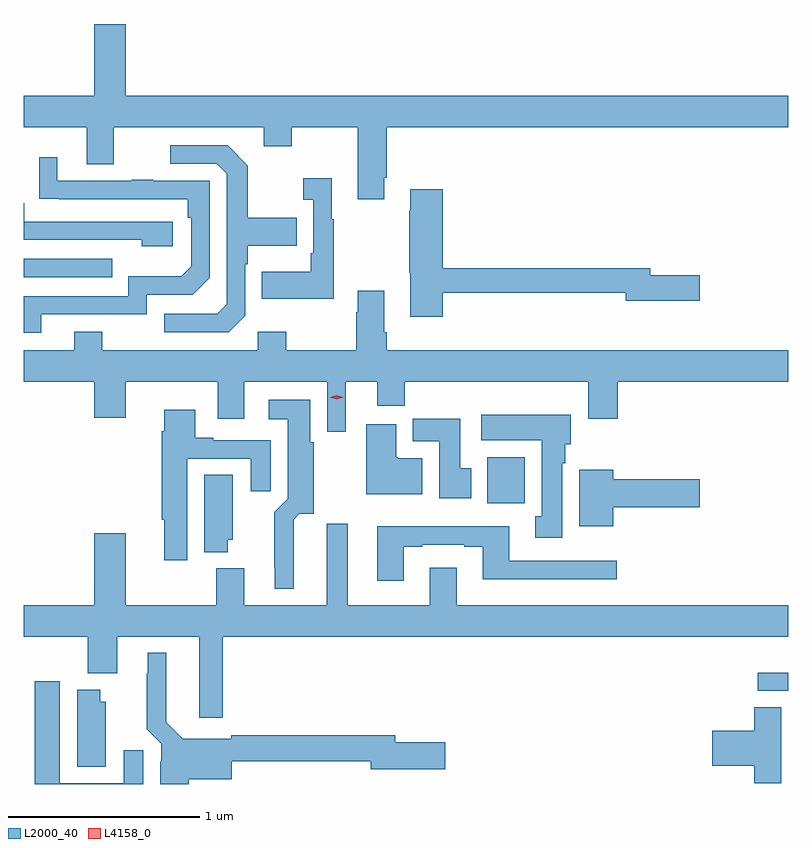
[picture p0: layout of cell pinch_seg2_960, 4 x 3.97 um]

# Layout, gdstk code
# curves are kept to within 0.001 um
import gdstk
lib = gdstk.Library(unit=1e-6, precision=1e-09)
def R(c, l, rs):  # rectangles x0, y0, x1, y1
    for r in rs: c.add(gdstk.rectangle(r[:2], r[2:], *l))
def P(c, l, *ps):  # polygons
    for p in ps: c.add(gdstk.Polygon(p, *l))
L2000_40 = (2000, 40)
L4158_0 = (4158, 0)

pinch_seg2_960 = lib.new_cell('pinch_seg2_960')
R(pinch_seg2_960, L2000_40, [(120.525,628.704,120.686,628.8), (119.111,629.684,119.308,629.926), (116.686,630.867,117.149,630.963)])
P(pinch_seg2_960, L2000_40, [(118.573,631.387),(118.586,631.387),(118.586,631.652),(120.686,631.652),(120.686,631.816),(117.22,631.816),(117.22,632.191),(117.056,632.191),(117.056,631.816),(116.686,631.816),(116.686,631.652),(117.017,631.652),(117.017,631.458),(117.157,631.458),(117.157,631.652),(117.941,631.652),(117.941,631.553),(118.089,631.553),(118.089,631.652),(118.433,631.652),(118.433,631.275),(118.573,631.275)],
  [(117.846,630.666),(117.846,630.935),(117.859,630.935),(117.859,631.031),(118.115,631.031),(118.115,631.179),(117.859,631.179),(117.859,631.451),(117.753,631.557),(117.453,631.557),(117.453,631.461),(117.696,631.461),(117.75,631.407),(117.75,630.726),(117.699,630.675),(117.423,630.675),(117.423,630.579),(117.759,630.579)],
  [(116.779,630.672),(117.33,630.672),(117.33,630.774),(117.57,630.774),(117.66,630.864),(117.66,631.371),(117.365,631.371),(117.365,631.376),(117.253,631.376),(117.253,631.371),(116.863,631.371),(116.863,631.495),(116.767,631.495),(116.767,631.276),(117.544,631.275),(117.544,631.178),(117.564,631.178),(117.564,630.924),(117.511,630.871),(117.234,630.871),(117.234,630.768),(116.686,630.768),(116.686,630.576),(116.779,630.576)],
  [(118.309,631.171),(118.297,631.171),(118.297,631.384),(118.149,631.384),(118.149,631.271),(118.2,631.271),(118.2,630.991),(118.188,630.991),(118.188,630.895),(117.931,630.895),(117.931,630.755),(118.309,630.755)],
  [(118.877,630.786),(119.834,630.786),(119.834,630.743),(120.223,630.743),(120.223,630.878),(119.962,630.878),(119.962,630.914),(118.877,630.914),(118.877,631.327),(118.709,631.327),(118.709,631.214),(118.702,631.214),(118.702,630.891),(118.709,630.891),(118.709,630.66),(118.877,630.66)],
  [(117.466,631.158),(116.689,631.158),(116.689,631.255),(116.686,631.255),(116.686,631.062),(117.305,631.062),(117.305,631.028),(117.466,631.028)],
  [(118.372,630.32),(118.535,630.32),(118.535,630.196),(118.679,630.196),(118.679,630.32),(119.639,630.32),(119.639,630.126),(119.792,630.126),(119.792,630.32),(120.686,630.32),(120.686,630.484),(118.586,630.484),(118.586,630.58),(118.573,630.58),(118.573,630.796),(118.433,630.796),(118.433,630.683),(118.426,630.683),(118.426,630.484),(118.059,630.484),(118.059,630.583),(117.912,630.583),(117.912,630.484),(117.099,630.484),(117.099,630.583),(116.951,630.583),(116.951,630.484),(116.686,630.484),(116.686,630.32),(117.056,630.32),(117.056,630.132),(117.22,630.132),(117.22,630.32),(117.701,630.32),(117.701,630.126),(117.841,630.126),(117.841,630.32),(118.275,630.32),(118.275,630.06),(118.372,630.06)],
  [(118.099,629.6),(118.129,629.631),(118.204,629.631),(118.204,630.003),(118.186,630.003),(118.186,630.226),(117.969,630.226),(117.969,630.125),(118.067,630.125),(118.067,629.708),(117.997,629.638),(117.997,629.347),(118.001,629.347),(118.001,629.237),(118.099,629.237)],
  [(117.541,629.919),(117.875,629.919),(117.875,629.748),(117.979,629.748),(117.979,630.015),(117.679,630.015),(117.679,630.028),(117.583,630.028),(117.583,630.175),(117.422,630.175),(117.422,630.062),(117.41,630.062),(117.41,629.6),(117.422,629.6),(117.422,629.388),(117.541,629.388)],
  [(119.503,629.894),(119.518,629.894),(119.518,629.994),(119.548,629.994),(119.548,630.148),(119.079,630.148),(119.079,630.014),(119.396,630.014),(119.396,629.618),(119.363,629.618),(119.363,629.505),(119.503,629.505)],
  [(119.026,629.868),(118.969,629.868),(118.969,630.126),(118.721,630.126),(118.721,630.008),(118.859,630.008),(118.859,629.712),(119.026,629.712)],
  [(118.771,629.92),(118.642,629.92),(118.642,629.926),(118.636,629.926),(118.636,630.097),(118.478,630.097),(118.478,629.732),(118.771,629.732)],
  [(119.77,629.663),(120.223,629.663),(120.223,629.81),(119.77,629.81),(119.77,629.86),(119.591,629.86),(119.591,629.564),(119.77,629.564)],
  [(117.754,629.493),(117.781,629.493),(117.781,629.834),(117.632,629.834),(117.632,629.429),(117.754,629.429)],
  [(117.728,628.988),(120.686,628.988),(120.686,629.152),(118.951,629.152),(118.951,629.347),(118.811,629.347),(118.811,629.152),(118.381,629.152),(118.381,629.578),(118.271,629.578),(118.271,629.152),(117.841,629.152),(117.841,629.344),(117.694,629.344),(117.694,629.152),(117.22,629.152),(117.22,629.527),(117.056,629.527),(117.056,629.152),(116.686,629.152),(116.686,628.988),(117.023,628.988),(117.023,628.796),(117.175,628.796),(117.175,628.988),(117.605,628.988),(117.605,628.563),(117.728,628.563)],
  [(118.675,629.457),(118.771,629.457),(118.771,629.469),(118.991,629.469),(118.991,629.457),(119.087,629.457),(119.087,629.288),(119.788,629.288),(119.788,629.385),(119.227,629.385),(119.227,629.566),(118.535,629.566),(118.535,629.28),(118.675,629.28)],
  [(117.551,628.241),(117.775,628.241),(117.775,628.336),(118.502,628.336),(118.502,628.294),(118.891,628.294),(118.891,628.436),(118.63,628.436),(118.63,628.472),(117.771,628.472),(117.771,628.453),(117.519,628.453),(117.433,628.54),(117.433,628.903),(117.335,628.903),(117.335,628.793),(117.331,628.793),(117.331,628.502),(117.405,628.428),(117.405,628.334),(117.401,628.334),(117.401,628.217),(117.551,628.217)],
  [(117.313,628.393),(117.209,628.393),(117.209,628.221),(116.875,628.221),(116.875,628.753),(116.744,628.753),(116.744,628.217),(117.313,628.217)],
  [(117.115,628.647),(117.088,628.647),(117.088,628.711),(116.966,628.711),(116.966,628.306),(117.115,628.306)],
  [(120.649,628.619),(120.506,628.619),(120.506,628.496),(120.288,628.496),(120.288,628.313),(120.506,628.313),(120.506,628.222),(120.649,628.222)])
P(pinch_seg2_960, L4158_0, [(118.323,630.23),(118.287,630.24),(118.287,630.24),(118.287,630.24),(118.323,630.25),(118.358,630.24),(118.358,630.24),(118.358,630.24)])

lib.write_gds('pinch_seg2_960.gds')
